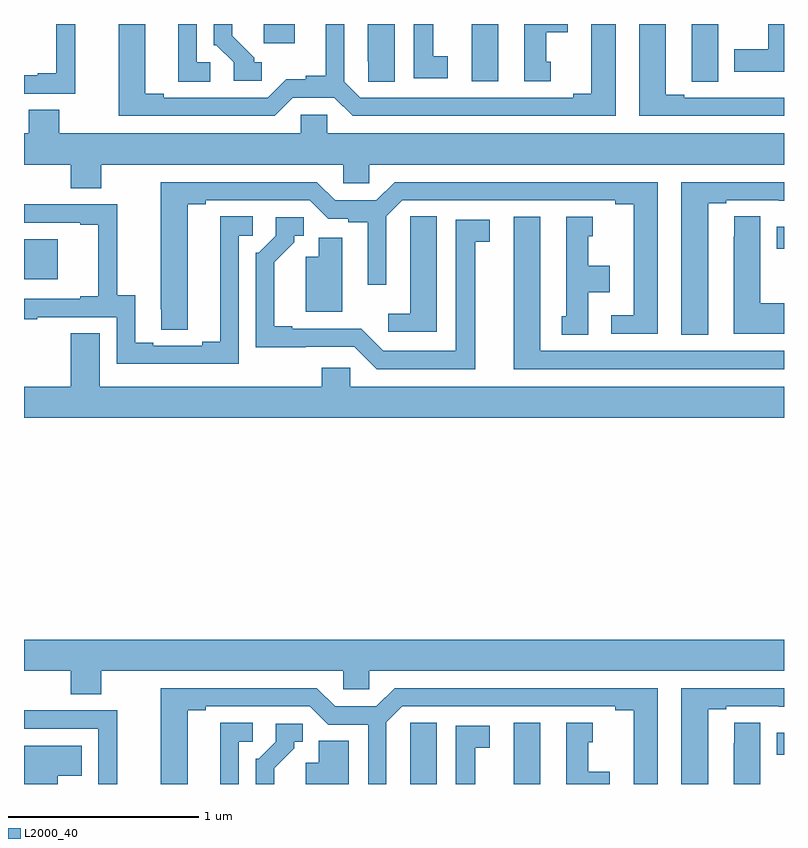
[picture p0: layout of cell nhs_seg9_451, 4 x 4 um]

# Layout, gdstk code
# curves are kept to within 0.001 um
import gdstk
lib = gdstk.Library(unit=1e-6, precision=1e-09)
def R(c, l, rs):  # rectangles x0, y0, x1, y1
    for r in rs: c.add(gdstk.rectangle(r[:2], r[2:], *l))
def P(c, l, *ps):  # polygons
    for p in ps: c.add(gdstk.Polygon(p, *l))
L2000_40 = (2000, 40)

nhs_seg9_451 = lib.new_cell('nhs_seg9_451')
R(nhs_seg9_451, L2000_40, [(135.578,1186.5,135.718,1186.822), (136.961,1186.654,137,1186.77), (133,1189.157,133.177,1189.366), (136.961,1189.318,137,1189.434), (135.356,1190.199,135.496,1190.5), (134.261,1190.4,134.425,1190.5)])
P(nhs_seg9_451, L2000_40, [(136.654,1190.5),(136.514,1190.5),(136.514,1190.305),(136.515,1190.305),(136.515,1190.197),(136.654,1190.197)],
  [(134.415,1190.112),(134.633,1190.112),(134.729,1190.016),(136.114,1190.016),(136.114,1190.5),(135.986,1190.5),(135.986,1190.132),(135.89,1190.132),(135.89,1190.112),(134.769,1190.112),(134.685,1190.196),(134.685,1190.5),(134.588,1190.5),(134.588,1190.228),(134.484,1190.228),(134.484,1190.21),(134.381,1190.21),(134.283,1190.112),(133.735,1190.112),(133.735,1190.132),(133.639,1190.132),(133.639,1190.5),(133.499,1190.5),(133.499,1190.016),(134.319,1190.016)],
  [(133.981,1190.298),(133.908,1190.298),(133.908,1190.5),(133.811,1190.5),(133.811,1190.197),(133.981,1190.197)],
  [(133.269,1190.5),(133.169,1190.5),(133.169,1190.242),(133.073,1190.242),(133.073,1190.229),(133,1190.229),(133,1190.133),(133.269,1190.133)],
  [(135.229,1190.33),(135.154,1190.33),(135.154,1190.5),(135.05,1190.5),(135.05,1190.214),(135.229,1190.214)],
  [(134.251,1190.298),(134.212,1190.298),(134.212,1190.322),(134.095,1190.438),(134.095,1190.5),(133.998,1190.5),(133.998,1190.388),(134.013,1190.388),(134.103,1190.298),(134.103,1190.202),(134.251,1190.202)],
  [(134.95,1190.5),(134.81,1190.5),(134.81,1190.305),(134.811,1190.305),(134.811,1190.197),(134.95,1190.197)],
  [(137,1190.112),(136.916,1190.112),(136.916,1190.113),(136.75,1190.113),(136.75,1190.112),(136.474,1190.112),(136.474,1190.127),(136.378,1190.127),(136.378,1190.5),(136.238,1190.5),(136.238,1190.016),(137,1190.016)],
  [(135.772,1190.301),(135.748,1190.301),(135.748,1190.456),(135.862,1190.456),(135.862,1190.5),(135.632,1190.5),(135.632,1190.199),(135.772,1190.199)],
  [(137,1190.5),(136.916,1190.5),(136.916,1190.367),(136.739,1190.367),(136.739,1190.25),(137,1190.25)],
  [(133.407,1189.76),(134.679,1189.76),(134.679,1189.662),(134.817,1189.662),(134.817,1189.76),(137,1189.76),(137,1189.924),(134.595,1189.924),(134.595,1190.022),(134.457,1190.022),(134.457,1189.924),(133.185,1189.924),(133.185,1190.048),(133.025,1190.048),(133.025,1189.924),(133,1189.924),(133,1189.76),(133.247,1189.76),(133.247,1189.636),(133.407,1189.636)],
  [(136.6,1189.557),(136.696,1189.557),(136.696,1189.572),(136.972,1189.572),(136.972,1189.571),(137,1189.571),(137,1189.668),(136.46,1189.668),(136.46,1188.865),(136.6,1188.865)],
  [(136.336,1189.668),(134.951,1189.668),(134.855,1189.572),(134.637,1189.572),(134.541,1189.668),(133.721,1189.668),(133.722,1188.892),(133.861,1188.892),(133.861,1189.552),(133.957,1189.552),(133.957,1189.572),(134.505,1189.572),(134.601,1189.476),(134.706,1189.476),(134.706,1189.456),(134.81,1189.456),(134.81,1189.128),(134.907,1189.128),(134.907,1189.488),(134.991,1189.572),(136.112,1189.572),(136.112,1189.552),(136.208,1189.552),(136.208,1188.966),(136.092,1188.966),(136.092,1188.87),(136.336,1188.87)],
  [(134.13,1189.386),(134.203,1189.386),(134.203,1189.487),(134.033,1189.487),(134.033,1188.827),(133.937,1188.827),(133.937,1188.807),(133.681,1188.807),(133.681,1188.822),(133.585,1188.822),(133.585,1189.073),(133.491,1189.073),(133.491,1189.551),(133,1189.551),(133,1189.455),(133.295,1189.455),(133.295,1189.443),(133.391,1189.443),(133.391,1189.066),(133.295,1189.066),(133.295,1189.053),(133,1189.053),(133,1188.945),(133.069,1188.945),(133.069,1188.957),(133.488,1188.957),(133.488,1188.711),(134.13,1188.711)],
  [(135.172,1189.487),(135.033,1189.487),(135.033,1189.379),(135.032,1189.379),(135.032,1188.976),(134.916,1188.976),(134.916,1188.879),(135.172,1188.879)],
  [(137,1189.029),(136.876,1189.029),(136.876,1189.487),(136.737,1189.487),(136.737,1189.379),(136.736,1189.379),(136.736,1188.869),(137,1188.869)],
  [(137,1188.78),(135.718,1188.78),(135.718,1189.486),(135.578,1189.486),(135.578,1188.684),(137,1188.684)],
  [(135.97,1189.088),(136.084,1189.088),(136.084,1189.228),(135.97,1189.228),(135.97,1189.383),(135.994,1189.383),(135.994,1189.486),(135.854,1189.486),(135.854,1188.963),(135.83,1188.963),(135.83,1188.865),(135.97,1188.865)],
  [(135.376,1189.354),(135.451,1189.354),(135.451,1189.47),(135.272,1189.47),(135.272,1188.78),(134.892,1188.78),(134.775,1188.897),(134.413,1188.897),(134.413,1188.91),(134.317,1188.91),(134.317,1189.246),(134.422,1189.351),(134.422,1189.386),(134.472,1189.386),(134.472,1189.482),(134.325,1189.482),(134.325,1189.386),(134.235,1189.296),(134.22,1189.296),(134.22,1188.8),(134.739,1188.801),(134.856,1188.684),(135.376,1188.684)],
  [(134.674,1189.374),(134.552,1189.374),(134.552,1189.276),(134.483,1189.276),(134.483,1188.986),(134.674,1188.986)],
  [(137,1188.592),(134.718,1188.592),(134.718,1188.69),(134.567,1188.69),(134.567,1188.592),(133.399,1188.592),(133.399,1188.872),(133.247,1188.872),(133.247,1188.592),(133,1188.592),(133,1188.428),(137,1188.428)],
  [(133.407,1187.096),(134.679,1187.096),(134.679,1186.998),(134.817,1186.998),(134.817,1187.096),(137,1187.096),(137,1187.26),(133,1187.26),(133,1187.096),(133.247,1187.096),(133.247,1186.972),(133.407,1186.972)],
  [(133.861,1186.888),(133.957,1186.888),(133.957,1186.908),(134.505,1186.908),(134.601,1186.812),(134.811,1186.812),(134.811,1186.5),(134.907,1186.5),(134.907,1186.824),(134.991,1186.908),(136.112,1186.908),(136.112,1186.888),(136.208,1186.888),(136.208,1186.5),(136.336,1186.5),(136.336,1187.004),(134.951,1187.004),(134.855,1186.908),(134.637,1186.908),(134.541,1187.004),(133.721,1187.004),(133.721,1186.5),(133.861,1186.5)],
  [(136.6,1186.893),(136.696,1186.893),(136.696,1186.908),(136.972,1186.908),(136.972,1186.907),(137,1186.907),(137,1187.004),(136.46,1187.004),(136.46,1186.5),(136.6,1186.5)],
  [(133.491,1186.887),(133,1186.887),(133,1186.791),(133.392,1186.791),(133.392,1186.5),(133.491,1186.5)],
  [(135.172,1186.823),(135.033,1186.823),(135.033,1186.715),(135.032,1186.715),(135.032,1186.5),(135.172,1186.5)],
  [(136.876,1186.823),(136.737,1186.823),(136.737,1186.715),(136.736,1186.715),(136.736,1186.5),(136.876,1186.5)],
  [(134.13,1186.722),(134.203,1186.722),(134.203,1186.823),(134.033,1186.823),(134.033,1186.5),(134.13,1186.5)],
  [(136.084,1186.564),(135.97,1186.564),(135.97,1186.719),(135.994,1186.719),(135.994,1186.822),(135.854,1186.822),(135.854,1186.5),(136.084,1186.5)],
  [(134.317,1186.582),(134.422,1186.687),(134.422,1186.722),(134.467,1186.722),(134.467,1186.818),(134.325,1186.818),(134.325,1186.722),(134.235,1186.632),(134.22,1186.632),(134.22,1186.5),(134.317,1186.5)],
  [(135.376,1186.69),(135.451,1186.69),(135.451,1186.806),(135.272,1186.806),(135.272,1186.5),(135.376,1186.5)],
  [(134.71,1186.727),(134.552,1186.727),(134.552,1186.612),(134.483,1186.612),(134.483,1186.5),(134.71,1186.5)],
  [(133.177,1186.544),(133.303,1186.544),(133.303,1186.702),(133,1186.702),(133,1186.5),(133.177,1186.5)])

lib.write_gds('nhs_seg9_451.gds')
